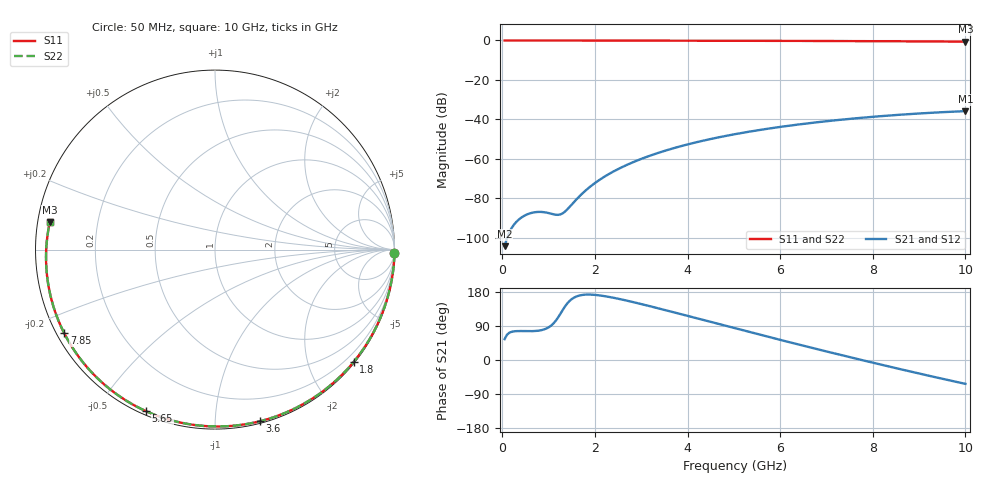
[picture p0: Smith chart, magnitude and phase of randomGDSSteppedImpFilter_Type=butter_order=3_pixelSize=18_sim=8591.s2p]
! freq	dB(S11)	phase(S11)	dB(S12)	phase(S12)
!  dB(S21)	phase(S21)	dB(S22)	phase(S22)
!S-par simulation data
#  GHz  S  DB  R 50
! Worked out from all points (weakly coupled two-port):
!   200 points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, 50 MHz to 10 GHz, reference 50 ohm
!   highest |S21| = -35.84 dB at 10 GHz (marker M1); lowest = -104.3 dB at 50 MHz (marker M2)
!   lowest |S11| = -0.6 dB at 10 GHz (marker M3), VSWR 28.81, Z = 1.75 + j4.14 ohm
!   |S11| at or under -10 dB: nowhere
!   |S22| runs from -0.6 to 0.0 dB; largest |S21 - S12| = 0
!   S11 on the Smith chart (normalised r, x): 50 MHz: open; 1.8 GHz: 0.03, -2.82; 3.6 GHz: 0.02, -1.29; 5.65 GHz: 0.02, -0.66; 7.85 GHz: 0.02, -0.26; 10 GHz: 0.03, +0.08
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0.05  -0.00 -1.1  -104.33 55.0  -104.33 55.0  -0.00 -1.1
0.4  -0.01 -8.9  -90.02 76.4  -90.02 76.4  -0.01 -8.9
0.8  -0.02 -17.6  -86.94 77.7  -86.94 77.7  -0.02 -17.6
1.6  -0.04 -34.8  -80.64 167.6  -80.64 167.6  -0.04 -34.8
1.65  -0.05 -35.9  -79.42 169.7  -79.42 169.7  -0.05 -35.9
1.75  -0.05 -38.0  -77.14 172.0  -77.14 172.0  -0.05 -38.0
1.8  -0.05 -39.0  -76.08 172.5  -76.08 172.5  -0.05 -39.0
2.1  -0.06 -45.3  -70.68 170.5  -70.68 170.5  -0.06 -45.3
2.45  -0.07 -52.5  -65.84 163.1  -65.84 163.1  -0.07 -52.5
2.9  -0.08 -61.7  -61.00 150.6  -61.00 150.6  -0.08 -61.7
3.4  -0.09 -71.5  -56.77 135.4  -56.77 135.4  -0.09 -71.5
3.6  -0.10 -75.4  -55.32 129.1  -55.32 129.1  -0.10 -75.4
4.3  -0.12 -88.7  -51.02 106.9  -51.02 106.9  -0.12 -88.7
5.05  -0.16 -102.4  -47.42 82.9  -47.42 82.9  -0.16 -102.4
5.65  -0.19 -113.1  -45.06 64.0  -45.06 64.0  -0.19 -113.1
6.15  -0.22 -121.8  -43.37 48.5  -43.37 48.5  -0.22 -121.8
6.7  -0.25 -131.3  -41.75 31.7  -41.75 31.7  -0.25 -131.3
7.3  -0.30 -141.6  -40.23 13.6  -40.23 13.6  -0.30 -141.5
7.85  -0.35 -151.0  -39.02 -2.7  -39.02 -2.7  -0.35 -151.0
8.35  -0.40 -159.6  -38.07 -17.2  -38.07 -17.2  -0.40 -159.6
9.2  -0.50 -174.6  -36.76 -41.2  -36.76 -41.2  -0.50 -174.6
10  -0.60 170.5  -35.84 -62.9  -35.84 -62.9  -0.60 170.5
